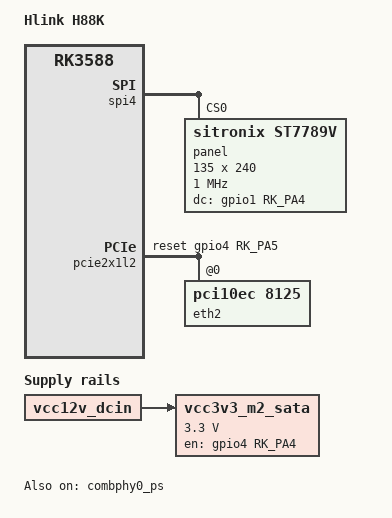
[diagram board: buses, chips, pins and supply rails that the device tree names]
// SPDX-License-Identifier: (GPL-2.0+ OR MIT)
// Copyright (c) 2023 Flippy <flippy@sina.com>

/dts-v1/;
#include <dt-bindings/clock/rk3588-cru.h>
#include <dt-bindings/gpio/gpio.h>

#include "rk3588-hlink.dtsi"

/ {
	model = "Hlink H88K";
	compatible = "hlink,h88k", "rockchip,rk3588";

	aliases {
		ethernet1 = &rtl8125_1;
		ethernet2 = &rtl8125_2;
	};

	vcc3v3_m2_sata: vcc3v3-m2-sata {
		compatible = "regulator-fixed";
		regulator-name = "vcc3v3_m2_sata";
		regulator-min-microvolt = <3300000>;
		regulator-max-microvolt = <3300000>;
		regulator-always-on;
		regulator-boot-on;
		enable-active-high;
		gpios = <&gpio4 RK_PA4 GPIO_ACTIVE_HIGH>;
		vin-supply = <&vcc12v_dcin>;
	};
};

&vcc_mipidcphy0 {
	status = "disabled";
};

&sata0 {
	status = "disabled";
};

&spi4 {
	assigned-clocks = <&cru CLK_SPI4>;
	assigned-clock-rates = <200000000>;
	pinctrl-names = "default";
	pinctrl-0 = <&spi4m2_pins &spi4m2_cs0>;
	num-cs = <1>;
	status = "okay";

	panel@0 {
		compatible = "sitronix,st7789v";
		reg = <0>;
		dc-gpios = <&gpio1 RK_PA4 GPIO_ACTIVE_HIGH>;
		spi-max-frequency = <1000000>;
		width = <135>;
		height = <240>;
		buswidth = <8>;
		rotate = <90>;
		x-offset = <40>;
		y-offset = <52>;
		spi-cpol;
		spi-cpha;
	};
};

&pcie2x1l2 {
	reset-gpios = <&gpio4 RK_PA5 GPIO_ACTIVE_HIGH>;
	status = "okay";

	pcie@0,0 {
		reg = <0x000000 0 0 0 0>;
		#address-cells = <3>;
		#size-cells = <2>;

		bus-range = <0x40 0x4f>;
		device_type = "pci";
		ranges;

		rtl8125_2: pcie-eth@0,0 {
			compatible = "pci10ec,8125";
			label = "eth2";
			reg = <0x000000 0 0 0 0>;

			r8125,led2 = <0x0200>;
			r8125,led3 = <0x002a>;
		};
	};
};

&combphy0_ps {
	status = "okay";
	pinctrl-0 = <&sata0_pm_reset>;
};

&pinctrl {
	sata {
		sata0_pm_reset: sata0-pm-reset {
			rockchip,pins = <4 RK_PA0 RK_FUNC_GPIO &pcfg_output_high>;
		};
	};
};
